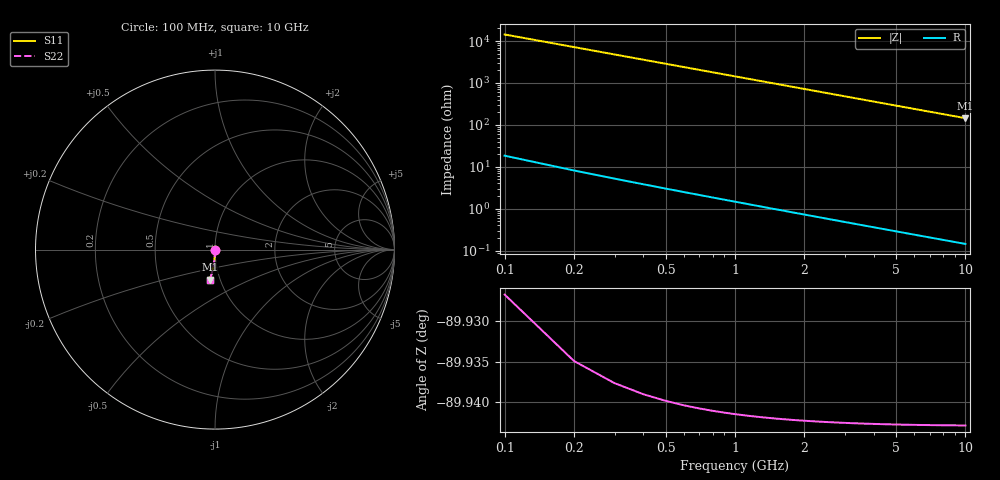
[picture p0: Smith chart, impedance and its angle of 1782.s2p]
# Hz S RI R 50.00
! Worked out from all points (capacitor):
!   100 points, 100 MHz to 10 GHz, reference 50 ohm
!   read as one part in shunt: C = 111 fF near 100 MHz
!   lowest |Z| = 145 ohm at 10 GHz (marker M1)
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1e8  -1.87e-06 -0.00173  1 -0.00174  1 -0.00174  -1.87e-06 -0.00173
2e8  -1.26e-05 -0.00345  1 -0.00349  1 -0.00349  -1.26e-05 -0.00345
3e8  -2.94e-05 -0.00518  1 -0.00523  1 -0.00523  -2.94e-05 -0.00518
4e8  -5.22e-05 -0.00691  0.9999 -0.00698  0.9999 -0.00698  -5.22e-05 -0.00691
5e8  -8.1e-05 -0.00863  0.9999 -0.00872  0.9999 -0.00872  -8.1e-05 -0.00863
6e8  -0.000116 -0.0104  0.9999 -0.0105  0.9999 -0.0105  -0.000116 -0.0104
7e8  -0.000157 -0.0121  0.9998 -0.0122  0.9998 -0.0122  -0.000157 -0.0121
8e8  -0.000204 -0.0138  0.9998 -0.0139  0.9998 -0.0139  -0.000204 -0.0138
9e8  -0.000256 -0.0155  0.9997 -0.0157  0.9997 -0.0157  -0.000256 -0.0155
1.1e9  -0.00038 -0.019  0.9996 -0.0192  0.9996 -0.0192  -0.00038 -0.019
1.4e9  -0.000611 -0.0242  0.9994 -0.0244  0.9994 -0.0244  -0.000611 -0.0242
1.8e9  -0.001 -0.031  0.999 -0.0313  0.999 -0.0313  -0.001 -0.031
2.1e9  -0.00136 -0.0362  0.9986 -0.0366  0.9986 -0.0366  -0.00136 -0.0362
2.5e9  -0.00192 -0.0431  0.9981 -0.0435  0.9981 -0.0435  -0.00192 -0.0431
2.9e9  -0.00257 -0.0499  0.9974 -0.0504  0.9974 -0.0504  -0.00257 -0.0499
3.4e9  -0.00352 -0.0584  0.9965 -0.059  0.9965 -0.059  -0.00352 -0.0584
4.2e9  -0.00534 -0.072  0.9947 -0.0727  0.9947 -0.0727  -0.00534 -0.072
5.1e9  -0.00782 -0.0872  0.9922 -0.0881  0.9922 -0.0881  -0.00782 -0.0872
5.9e9  -0.0104 -0.1005  0.9896 -0.1015  0.9896 -0.1015  -0.0104 -0.1005
6.7e9  -0.0134 -0.1138  0.9866 -0.1149  0.9866 -0.1149  -0.0134 -0.1138
8.4e9  -0.0208 -0.1414  0.9792 -0.1428  0.9792 -0.1428  -0.0208 -0.1414
1e10  -0.0291 -0.1667  0.9709 -0.1684  0.9709 -0.1684  -0.0291 -0.1667
